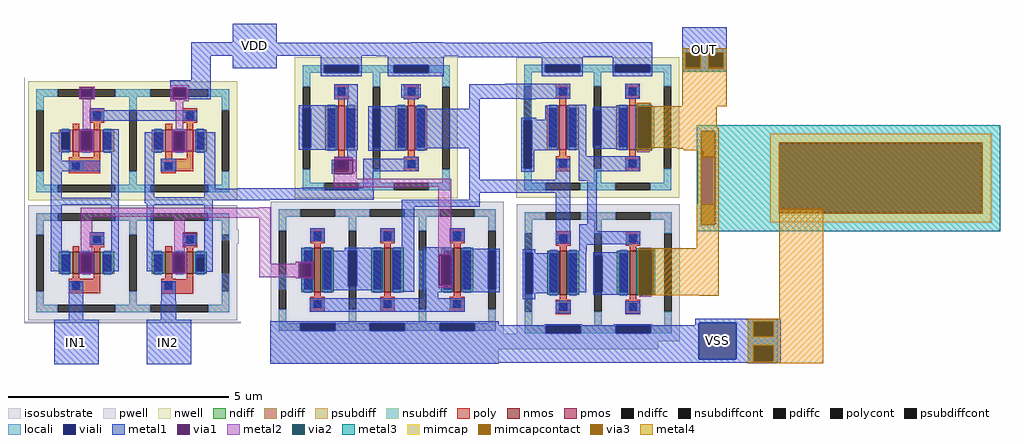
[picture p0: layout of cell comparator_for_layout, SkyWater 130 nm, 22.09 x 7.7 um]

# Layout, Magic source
magic
tech sky130A
magscale 1 2
<< isosubstrate >>
rect 2174 -8984 2178 -7880
rect 2174 -8992 3156 -8984
<< nwell >>
rect 3680 -7910 3708 -7900
rect 3578 -7976 3708 -7910
rect 3794 -7970 3860 -7824
rect 3418 -8206 3504 -8000
rect 3638 -8244 3708 -7976
rect 2854 -8258 2864 -8246
rect 3578 -8302 3708 -8244
rect 3578 -8308 3680 -8302
rect 3576 -8328 4108 -8308
rect 3576 -8376 3894 -8328
<< pwell >>
rect 3294 -8462 3310 -8458
rect 2440 -8664 2468 -8542
rect 2472 -8634 2538 -8580
rect 2580 -8634 2646 -8580
rect 2440 -8682 2474 -8664
rect 2854 -8670 2902 -8548
rect 3002 -8616 3146 -8568
rect 3294 -8592 3312 -8462
rect 3002 -8634 3052 -8616
rect 3130 -8632 3146 -8616
rect 3292 -8632 3312 -8592
rect 3470 -8620 3536 -8562
rect 3920 -8628 3940 -8470
rect 3624 -8650 3706 -8634
rect 3430 -8740 3482 -8650
rect 3624 -8662 3796 -8650
rect 3430 -8772 3476 -8740
rect 2580 -8854 2646 -8788
rect 3312 -8838 3476 -8772
rect 3312 -8866 3376 -8838
rect 3530 -8842 3796 -8662
rect 3624 -8844 3796 -8842
rect 3624 -8860 3746 -8844
rect 3920 -8846 3934 -8628
rect 3952 -8662 4006 -8646
rect 3952 -8844 4108 -8662
rect 3952 -8856 4008 -8844
rect 4162 -8850 4328 -8654
rect 4958 -8862 5106 -8660
rect 3468 -8940 4168 -8878
rect 3404 -8982 3596 -8968
rect 3288 -9038 4322 -8982
rect 4696 -9038 4706 -8994
rect 4846 -9002 4872 -8986
rect 5072 -9002 5142 -8970
rect 4846 -9008 5010 -9002
rect 4846 -9038 4872 -9008
rect 3288 -9108 5046 -9038
rect 3288 -9174 4322 -9108
<< psubdiff >>
rect 4852 -9008 5010 -9002
<< poly >>
rect 2376 -8312 2520 -8240
rect 2910 -8246 2940 -8208
rect 2794 -8302 2940 -8246
rect 2472 -8634 2538 -8580
rect 2440 -8856 2520 -8790
rect 2796 -8858 2940 -8792
<< locali >>
rect 4436 -8072 4472 -7918
rect 3070 -8616 3104 -8590
rect 3642 -8662 3680 -8648
rect 3070 -8846 3104 -8768
rect 3328 -8838 3362 -8772
rect 3960 -8838 3994 -8662
rect 4442 -8672 4474 -8584
rect 4442 -8940 4474 -8858
rect 3422 -9000 3424 -8990
rect 3898 -9000 3900 -8990
rect 4054 -9000 4056 -8992
rect 5072 -9000 5106 -8970
<< viali >>
rect 3532 -7858 3690 -7824
rect 3848 -7858 4006 -7824
rect 4534 -7856 4692 -7822
rect 4848 -7856 5008 -7820
rect 2432 -7966 2484 -7932
rect 2848 -7966 2908 -7932
rect 3436 -8196 3472 -8018
rect 3752 -8196 3786 -8018
rect 4436 -8290 4472 -8072
rect 4754 -8186 4788 -8028
rect 3642 -8824 3680 -8662
rect 4276 -8838 4310 -8662
rect 4442 -8858 4476 -8672
rect 4758 -8850 4792 -8684
rect 3424 -9024 3582 -8990
rect 3740 -9024 3898 -8990
rect 4056 -9024 4214 -8990
rect 4536 -9036 4694 -9002
rect 4852 -9036 5010 -9002
rect 5228 -9154 5398 -8988
<< metal1 >>
rect 3118 -7720 3318 -7636
rect 2930 -7722 3318 -7720
rect 3926 -7722 4074 -7718
rect 4518 -7722 5018 -7720
rect 2930 -7780 5018 -7722
rect 2930 -7892 3020 -7780
rect 3118 -7836 3318 -7780
rect 3518 -7824 3702 -7780
rect 3770 -7782 5018 -7780
rect 3518 -7858 3532 -7824
rect 3690 -7858 3702 -7824
rect 3518 -7874 3702 -7858
rect 3820 -7824 4074 -7782
rect 4140 -7784 5018 -7782
rect 4140 -7788 4704 -7784
rect 3820 -7858 3848 -7824
rect 4006 -7858 4074 -7824
rect 3820 -7874 4074 -7858
rect 4518 -7822 4704 -7788
rect 4518 -7856 4534 -7822
rect 4692 -7856 4704 -7822
rect 4518 -7872 4704 -7856
rect 4840 -7820 5018 -7784
rect 4840 -7856 4848 -7820
rect 5008 -7856 5018 -7820
rect 5154 -7770 5354 -7652
rect 5154 -7830 5174 -7770
rect 5236 -7772 5354 -7770
rect 5236 -7830 5276 -7772
rect 5154 -7832 5276 -7830
rect 5338 -7832 5354 -7772
rect 5154 -7852 5354 -7832
rect 4840 -7872 5018 -7856
rect 2424 -7922 2494 -7920
rect 2424 -7974 2430 -7922
rect 2486 -7974 2494 -7922
rect 2424 -7978 2494 -7974
rect 2836 -7924 3020 -7892
rect 4352 -7910 4646 -7908
rect 2836 -7976 2848 -7924
rect 2908 -7976 3020 -7924
rect 3578 -7976 3684 -7910
rect 3882 -7970 3970 -7910
rect 3894 -7976 3960 -7970
rect 4190 -7974 4646 -7910
rect 4896 -7974 4960 -7908
rect 4190 -7976 4238 -7974
rect 4426 -7976 4488 -7974
rect 2836 -7978 3020 -7976
rect 3418 -8018 3592 -8004
rect 2472 -8026 2538 -8018
rect 2472 -8074 2958 -8026
rect 2424 -8120 2490 -8112
rect 2294 -8256 2344 -8128
rect 2424 -8208 2432 -8120
rect 2484 -8208 2490 -8120
rect 2570 -8126 2604 -8114
rect 2752 -8126 2798 -8116
rect 2424 -8218 2490 -8208
rect 2534 -8218 2604 -8126
rect 2294 -8302 2520 -8256
rect 2294 -8422 2344 -8302
rect 2570 -8422 2604 -8218
rect 2294 -8454 2604 -8422
rect 2720 -8216 2798 -8126
rect 2844 -8122 2910 -8114
rect 2844 -8210 2850 -8122
rect 2902 -8210 2910 -8122
rect 2844 -8216 2910 -8210
rect 2954 -8126 2990 -8114
rect 2954 -8216 3040 -8126
rect 3418 -8196 3436 -8018
rect 3472 -8196 3592 -8018
rect 3418 -8206 3592 -8196
rect 2720 -8420 2764 -8216
rect 2794 -8302 2864 -8246
rect 2990 -8382 3040 -8216
rect 3638 -8208 3684 -7976
rect 3732 -8018 3902 -8008
rect 3732 -8196 3752 -8018
rect 3786 -8196 3902 -8018
rect 4190 -8020 4236 -7976
rect 3638 -8238 3680 -8208
rect 3732 -8210 3902 -8196
rect 3952 -8200 4236 -8020
rect 3578 -8250 3680 -8238
rect 3894 -8246 3960 -8238
rect 3568 -8314 3578 -8250
rect 3662 -8254 3680 -8250
rect 3662 -8304 3678 -8254
rect 3710 -8304 3960 -8246
rect 3662 -8314 3672 -8304
rect 3710 -8378 3756 -8304
rect 3430 -8380 3756 -8378
rect 3142 -8382 3756 -8380
rect 2990 -8392 3756 -8382
rect 4190 -8342 4236 -8200
rect 4426 -8070 4492 -8060
rect 4534 -8070 4592 -8006
rect 4426 -8072 4592 -8070
rect 4426 -8290 4436 -8072
rect 4472 -8208 4592 -8072
rect 4640 -8206 4720 -8002
rect 4750 -8020 4908 -8010
rect 4748 -8028 4908 -8020
rect 4748 -8186 4754 -8028
rect 4788 -8186 4908 -8028
rect 4748 -8192 4908 -8186
rect 4944 -8192 4954 -8016
rect 5008 -8192 5018 -8016
rect 4750 -8202 4908 -8192
rect 4472 -8290 4484 -8208
rect 4686 -8236 4720 -8206
rect 4686 -8240 4962 -8236
rect 4426 -8306 4484 -8290
rect 4582 -8342 4646 -8246
rect 2990 -8420 3758 -8392
rect 2720 -8432 3758 -8420
rect 4190 -8400 4646 -8342
rect 4686 -8302 4964 -8240
rect 4686 -8346 4766 -8302
rect 4190 -8432 4236 -8400
rect 2720 -8434 3286 -8432
rect 2720 -8448 3028 -8434
rect 2294 -8680 2344 -8454
rect 2570 -8458 2604 -8454
rect 2730 -8454 3028 -8448
rect 2472 -8634 2538 -8580
rect 2424 -8674 2490 -8668
rect 2294 -8756 2378 -8680
rect 2424 -8762 2430 -8674
rect 2482 -8762 2490 -8674
rect 2570 -8680 2602 -8458
rect 2536 -8756 2602 -8680
rect 2730 -8680 2762 -8454
rect 2892 -8640 2954 -8584
rect 2990 -8664 3028 -8454
rect 3884 -8464 4236 -8432
rect 3470 -8620 3536 -8562
rect 3786 -8620 3852 -8562
rect 3884 -8650 3940 -8464
rect 4102 -8620 4168 -8562
rect 4582 -8576 4646 -8400
rect 4724 -8544 4766 -8346
rect 4688 -8574 4766 -8544
rect 4582 -8632 4650 -8576
rect 4688 -8632 4964 -8574
rect 4688 -8634 4924 -8632
rect 4688 -8636 4766 -8634
rect 2844 -8674 2910 -8668
rect 2730 -8756 2798 -8680
rect 2424 -8768 2490 -8762
rect 2844 -8762 2850 -8674
rect 2902 -8762 2910 -8674
rect 2980 -8680 3028 -8664
rect 2956 -8694 2986 -8680
rect 2990 -8758 3028 -8680
rect 3430 -8712 3482 -8650
rect 3626 -8662 3796 -8650
rect 3874 -8652 3940 -8650
rect 3416 -8720 3482 -8712
rect 2844 -8768 2910 -8762
rect 3416 -8782 3422 -8720
rect 3476 -8740 3482 -8720
rect 3416 -8788 3476 -8782
rect 2376 -8976 2442 -8800
rect 2796 -8892 2862 -8802
rect 3430 -8838 3476 -8788
rect 3530 -8824 3642 -8662
rect 3680 -8824 3796 -8662
rect 3530 -8842 3796 -8824
rect 3746 -8844 3796 -8842
rect 3844 -8846 3940 -8652
rect 3876 -8848 3940 -8846
rect 3980 -8662 4086 -8648
rect 4162 -8662 4328 -8654
rect 3980 -8680 4108 -8662
rect 3980 -8820 4052 -8680
rect 4108 -8820 4118 -8680
rect 3980 -8844 4108 -8820
rect 4162 -8838 4276 -8662
rect 4310 -8838 4328 -8662
rect 3980 -8850 4096 -8844
rect 4162 -8850 4328 -8838
rect 4432 -8672 4488 -8656
rect 4688 -8662 4722 -8636
rect 3980 -8878 4050 -8850
rect 4432 -8858 4442 -8672
rect 4476 -8674 4488 -8672
rect 4676 -8674 4720 -8662
rect 4476 -8856 4590 -8674
rect 4642 -8850 4720 -8674
rect 4750 -8684 4910 -8670
rect 4750 -8850 4758 -8684
rect 4792 -8850 4910 -8684
rect 4948 -8850 4958 -8674
rect 5012 -8850 5022 -8674
rect 4476 -8858 4488 -8856
rect 2794 -8976 2864 -8892
rect 3468 -8940 4168 -8878
rect 4432 -8882 4488 -8858
rect 4750 -8862 4910 -8850
rect 4582 -8946 4650 -8890
rect 4896 -8948 4964 -8892
rect 2312 -9176 2512 -8976
rect 2730 -9176 2930 -8976
rect 5212 -8982 5600 -8970
rect 3288 -8990 4322 -8982
rect 3288 -9024 3424 -8990
rect 3582 -9024 3740 -8990
rect 3898 -9024 4056 -8990
rect 4214 -9000 4322 -8990
rect 5212 -8988 5474 -8982
rect 4530 -9000 4700 -8996
rect 4844 -9000 5018 -8996
rect 5212 -9000 5228 -8988
rect 4214 -9002 5228 -9000
rect 4214 -9024 4536 -9002
rect 3288 -9036 4536 -9024
rect 4694 -9036 4852 -9002
rect 5010 -9036 5228 -9002
rect 3288 -9154 5228 -9036
rect 5398 -9052 5474 -8988
rect 5566 -9052 5600 -8982
rect 5398 -9090 5600 -9052
rect 5398 -9154 5474 -9090
rect 3288 -9164 5474 -9154
rect 5566 -9164 5600 -9090
rect 3288 -9170 5600 -9164
rect 3288 -9174 4322 -9170
<< via1 >>
rect 5174 -7830 5236 -7770
rect 5276 -7832 5338 -7772
rect 2430 -7932 2486 -7922
rect 2430 -7966 2432 -7932
rect 2432 -7966 2484 -7932
rect 2484 -7966 2486 -7932
rect 2430 -7974 2486 -7966
rect 2848 -7932 2908 -7924
rect 2848 -7966 2908 -7932
rect 2848 -7976 2908 -7966
rect 2432 -8208 2484 -8120
rect 2850 -8210 2902 -8122
rect 3578 -8314 3662 -8250
rect 4954 -8192 5008 -8016
rect 2430 -8762 2482 -8674
rect 2850 -8762 2902 -8674
rect 3422 -8782 3476 -8720
rect 4052 -8820 4108 -8680
rect 4958 -8850 5012 -8674
rect 5474 -9052 5566 -8982
rect 5474 -9164 5566 -9090
<< metal2 >>
rect 5156 -7770 5356 -7746
rect 5156 -7830 5174 -7770
rect 5236 -7830 5274 -7770
rect 5336 -7772 5356 -7770
rect 5156 -7832 5276 -7830
rect 5338 -7832 5356 -7772
rect 5156 -7850 5356 -7832
rect 2424 -7922 2494 -7920
rect 2424 -7974 2430 -7922
rect 2486 -7974 2494 -7922
rect 2424 -7978 2494 -7974
rect 2836 -7924 2920 -7914
rect 2836 -7976 2848 -7924
rect 2908 -7976 2920 -7924
rect 2440 -8112 2476 -7978
rect 2836 -7986 2920 -7976
rect 2424 -8120 2490 -8112
rect 2860 -8114 2894 -7986
rect 4950 -8004 5006 -7996
rect 4950 -8006 5008 -8004
rect 5006 -8016 5018 -8006
rect 2424 -8208 2432 -8120
rect 2484 -8208 2490 -8120
rect 2424 -8218 2490 -8208
rect 2844 -8122 2910 -8114
rect 2844 -8210 2850 -8122
rect 2902 -8210 2910 -8122
rect 2844 -8216 2910 -8210
rect 5008 -8192 5018 -8016
rect 5006 -8206 5018 -8192
rect 4950 -8216 5006 -8206
rect 3578 -8250 3662 -8240
rect 3576 -8314 3578 -8308
rect 3662 -8314 3680 -8250
rect 3576 -8338 3680 -8314
rect 3576 -8374 4108 -8338
rect 3576 -8376 3894 -8374
rect 3240 -8468 3292 -8466
rect 2430 -8510 3292 -8468
rect 2430 -8668 2482 -8510
rect 2854 -8514 3292 -8510
rect 2854 -8668 2902 -8514
rect 2426 -8674 2488 -8668
rect 2426 -8762 2430 -8674
rect 2482 -8762 2488 -8674
rect 2426 -8768 2488 -8762
rect 2844 -8674 2910 -8668
rect 2844 -8762 2850 -8674
rect 2902 -8762 2910 -8674
rect 2844 -8768 2910 -8762
rect 3240 -8722 3292 -8514
rect 4050 -8680 4108 -8374
rect 4958 -8660 5014 -8650
rect 3404 -8720 3484 -8712
rect 3404 -8722 3422 -8720
rect 3240 -8782 3422 -8722
rect 3476 -8782 3484 -8720
rect 4050 -8752 4052 -8680
rect 3404 -8788 3484 -8782
rect 4052 -8830 4108 -8820
rect 4956 -8850 4958 -8674
rect 5014 -8850 5020 -8674
rect 4958 -8870 5014 -8860
rect 5450 -8982 5586 -8970
rect 5450 -9052 5474 -8982
rect 5566 -9052 5586 -8982
rect 5450 -9090 5586 -9052
rect 5450 -9164 5474 -9090
rect 5566 -9164 5586 -9090
rect 5450 -9170 5586 -9164
<< via2 >>
rect 5174 -7830 5236 -7770
rect 5274 -7772 5336 -7770
rect 5274 -7830 5276 -7772
rect 5276 -7830 5336 -7772
rect 4950 -8016 5006 -8006
rect 4950 -8192 4954 -8016
rect 4954 -8192 5006 -8016
rect 4950 -8206 5006 -8192
rect 4958 -8674 5014 -8660
rect 4958 -8850 5012 -8674
rect 5012 -8850 5014 -8674
rect 4958 -8860 5014 -8850
rect 5474 -9052 5566 -8982
rect 5474 -9164 5566 -9090
<< metal3 >>
rect 5156 -7766 5356 -7746
rect 5156 -7836 5168 -7766
rect 5238 -7836 5272 -7766
rect 5342 -7836 5356 -7766
rect 5156 -7852 5356 -7836
rect 4940 -8006 5016 -8001
rect 4940 -8206 4950 -8006
rect 5006 -8010 5016 -8006
rect 5016 -8198 5026 -8010
rect 5006 -8206 5016 -8198
rect 4940 -8211 5016 -8206
rect 4946 -8864 4956 -8652
rect 5022 -8864 5032 -8652
rect 4948 -8865 5024 -8864
rect 5450 -8982 5586 -8970
rect 5450 -9052 5474 -8982
rect 5566 -9052 5586 -8982
rect 5450 -9090 5586 -9052
rect 5450 -9164 5474 -9090
rect 5566 -9164 5586 -9090
rect 5450 -9172 5586 -9164
<< via3 >>
rect 5168 -7770 5238 -7766
rect 5168 -7830 5174 -7770
rect 5174 -7830 5236 -7770
rect 5236 -7830 5238 -7770
rect 5168 -7836 5238 -7830
rect 5272 -7770 5342 -7766
rect 5272 -7830 5274 -7770
rect 5274 -7830 5336 -7770
rect 5336 -7830 5342 -7770
rect 5272 -7836 5342 -7830
rect 4950 -8198 5006 -8010
rect 5006 -8198 5016 -8010
rect 4956 -8660 5022 -8652
rect 4956 -8860 4958 -8660
rect 4958 -8860 5014 -8660
rect 5014 -8860 5022 -8660
rect 4956 -8864 5022 -8860
rect 5474 -9052 5566 -8982
rect 5474 -9164 5566 -9090
<< metal4 >>
rect 5154 -7766 5356 -7746
rect 5154 -7836 5168 -7766
rect 5238 -7836 5272 -7766
rect 5342 -7836 5356 -7766
rect 5154 -7968 5356 -7836
rect 4948 -8008 5010 -7994
rect 5154 -8008 5354 -7968
rect 4948 -8010 5310 -8008
rect 4948 -8198 4950 -8010
rect 5016 -8196 5310 -8010
rect 5016 -8198 5017 -8196
rect 4948 -8199 5017 -8198
rect 4948 -8210 5010 -8199
rect 5132 -8202 5310 -8196
rect 5160 -8208 5310 -8202
rect 5246 -8240 5310 -8208
rect 4955 -8652 5023 -8651
rect 5220 -8652 5320 -8452
rect 4955 -8864 4956 -8652
rect 5022 -8864 5320 -8652
rect 4955 -8865 5023 -8864
rect 5228 -8866 5320 -8864
rect 5592 -8970 5792 -8472
rect 5450 -8982 5792 -8970
rect 5450 -9052 5474 -8982
rect 5566 -9052 5792 -8982
rect 5450 -9090 5792 -9052
rect 5450 -9164 5474 -9090
rect 5566 -9164 5792 -9090
rect 5450 -9170 5792 -9164
rect 5592 -9172 5792 -9170
use sky130_fd_pr__cap_mim_m3_1_9482M8  XC8
transform -1 0 5906 0 -1 -8334
box -686 -240 686 240
use sky130_fd_pr__nfet_01v8_TGNW9T  XM1
transform 1 0 4135 0 1 -8750
box -211 -310 211 310
use sky130_fd_pr__nfet_01v8_3SNH8H  XM2
transform 1 0 2877 0 1 -8718
box -263 -260 263 260
use sky130_fd_pr__pfet_01v8_J8PPQP  XM3
transform 1 0 3611 0 1 -8107
box -211 -319 211 319
use sky130_fd_pr__pfet_01v8_J8PPQP  XM4
transform 1 0 4613 0 1 -8105
box -211 -319 211 319
use sky130_fd_pr__nfet_01v8_TGNW9T  XM5
transform 1 0 3503 0 1 -8750
box -211 -310 211 310
use sky130_fd_pr__pfet_01v8_X8MKUN  XM6
transform 1 0 2877 0 1 -8165
box -263 -269 263 269
use sky130_fd_pr__nfet_01v8_TGNW9T  XM7
transform 1 0 3819 0 1 -8750
box -211 -310 211 310
use sky130_fd_pr__nfet_01v8_3SNH8H  XM8
transform 1 0 2457 0 1 -8718
box -263 -260 263 260
use sky130_fd_pr__pfet_01v8_J8PPQP  XM9
transform 1 0 3927 0 1 -8107
box -211 -319 211 319
use sky130_fd_pr__pfet_01v8_X8MKUN  XM10
transform 1 0 2457 0 1 -8165
box -263 -269 263 269
use sky130_fd_pr__nfet_01v8_TGNW9T  XM11
transform 1 0 4615 0 1 -8762
box -211 -310 211 310
use sky130_fd_pr__pfet_01v8_J8PPQP  XM12
transform 1 0 4929 0 1 -8105
box -211 -319 211 319
use sky130_fd_pr__nfet_01v8_TGNW9T  XM13
transform 1 0 4931 0 1 -8762
box -211 -310 211 310
<< labels >>
flabel metal1 5154 -7852 5354 -7652 0 FreeSans 256 0 0 0 OUT
port 2 nsew
rlabel metal1 5212 -9170 5412 -8970 1 VSS
port 4 n
rlabel metal1 3118 -7836 3318 -7636 1 VDD
port 3 n
flabel metal1 2312 -9176 2512 -8976 0 FreeSans 256 0 0 0 IN1
port 0 nsew
flabel metal1 2730 -9176 2930 -8976 0 FreeSans 256 0 0 0 IN2
port 1 nsew
<< end >>

# cell sky130_fd_pr__cap_mim_m3_1_9482M8: kit device sky130_fd_pr__cap_mim_m3_1, w 5.0 l 2.00 val 22.66 carea 2.00 cperi 0.19 class capacitor nx 1 ny 1 dummy 0 square 0 lmin 2.00 wmin 2.00 lmax 30.0 wmax 30.0 dc 0 bconnect 1 tconnect 1 ccov 100 mf 1

# cell sky130_fd_pr__nfet_01v8_TGNW9T: kit device sky130_fd_pr__nfet_01v8, w 1.0 l 0.15 m 1 nf 1 diffcov 100 polycov 100 guard 1 glc 1 grc 1 gtc 1 gbc 1 tbcov 100 rlcov 100 topc 1 botc 1 poverlap 0 doverlap 1 lmin 0.15 wmin 0.42 class mosfet compatible {sky130_fd_pr__nfet_01v8 sky130_fd_pr__nfet_01v8_lvt sky130_fd_bs_flash__special_sonosfet_star sky130_fd_pr__nfet_g5v0d10v5 sky130_fd_pr__nfet_05v0_nvt sky130_fd_pr__nfet_03v3_nvt} full_metal 1 viasrc 100 viadrn 100 viagate 100 viagb 0 viagr 0 viagl 0 viagt 0 ad {int((nf+1)/2) * W/nf * 0.29} as {int((nf+2)/2) * W/nf * 0.29} pd {2*int((nf+1)/2) * (W/nf + 0.29)} ps {2*int((nf+2)/2) * (W/nf + 0.29)} nrd {0.29 / W} nrs {0.29 / W} sa 0 sb 0 sd 0 mult 1

# cell sky130_fd_pr__nfet_01v8_3SNH8H: kit device sky130_fd_pr__nfet_01v8, w 0.5 l 0.15 m 1 nf 2 diffcov 100 polycov 100 guard 1 glc 1 grc 1 gtc 1 gbc 1 tbcov 100 rlcov 100 topc 1 botc 1 poverlap 0 doverlap 1 lmin 0.15 wmin 0.42 class mosfet compatible {sky130_fd_pr__nfet_01v8 sky130_fd_pr__nfet_01v8_lvt sky130_fd_bs_flash__special_sonosfet_star sky130_fd_pr__nfet_g5v0d10v5 sky130_fd_pr__nfet_05v0_nvt sky130_fd_pr__nfet_03v3_nvt} full_metal 1 viasrc 100 viadrn 100 viagate 100 viagb 0 viagr 0 viagl 0 viagt 0 ad {int((nf+1)/2) * W/nf * 0.29} as {int((nf+2)/2) * W/nf * 0.29} pd {2*int((nf+1)/2) * (W/nf + 0.29)} ps {2*int((nf+2)/2) * (W/nf + 0.29)} nrd {0.29 / W} nrs {0.29 / W} sa 0 sb 0 sd 0 mult 1

# cell sky130_fd_pr__pfet_01v8_J8PPQP: kit device sky130_fd_pr__pfet_01v8, w 1.0 l 0.15 m 1 nf 1 diffcov 100 polycov 100 guard 1 glc 1 grc 1 gtc 1 gbc 1 tbcov 100 rlcov 100 topc 1 botc 1 poverlap 0 doverlap 1 lmin 0.15 wmin 0.42 class mosfet compatible {sky130_fd_pr__pfet_01v8 sky130_fd_pr__pfet_01v8_lvt sky130_fd_pr__pfet_01v8_hvt sky130_fd_pr__pfet_g5v0d10v5} full_metal 1 viasrc 100 viadrn 100 viagate 100 viagb 0 viagr 0 viagl 0 viagt 0 ad {int((nf+1)/2) * W/nf * 0.29} as {int((nf+2)/2) * W/nf * 0.29} pd {2*int((nf+1)/2) * (W/nf + 0.29)} ps {2*int((nf+2)/2) * (W/nf + 0.29)} nrd {0.29 / W} nrs {0.29 / W} sa 0 sb 0 sd 0 mult 1

# cell sky130_fd_pr__pfet_01v8_X8MKUN: kit device sky130_fd_pr__pfet_01v8, w 0.5 l 0.15 m 1 nf 2 diffcov 100 polycov 100 guard 1 glc 1 grc 1 gtc 1 gbc 1 tbcov 100 rlcov 100 topc 1 botc 1 poverlap 0 doverlap 1 lmin 0.15 wmin 0.42 class mosfet compatible {sky130_fd_pr__pfet_01v8 sky130_fd_pr__pfet_01v8_lvt sky130_fd_pr__pfet_01v8_hvt sky130_fd_pr__pfet_g5v0d10v5} full_metal 1 viasrc 100 viadrn 100 viagate 100 viagb 0 viagr 0 viagl 0 viagt 0 ad {int((nf+1)/2) * W/nf * 0.29} as {int((nf+2)/2) * W/nf * 0.29} pd {2*int((nf+1)/2) * (W/nf + 0.29)} ps {2*int((nf+2)/2) * (W/nf + 0.29)} nrd {0.29 / W} nrs {0.29 / W} sa 0 sb 0 sd 0 mult 1
